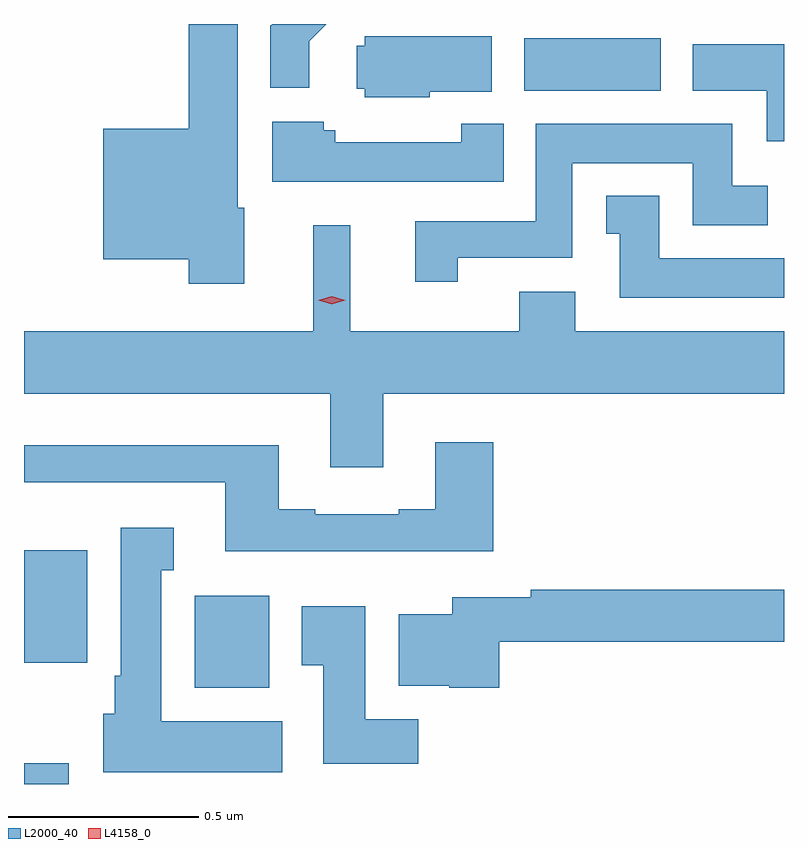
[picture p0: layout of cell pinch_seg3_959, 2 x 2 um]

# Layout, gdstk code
import gdstk
lib = gdstk.Library(unit=1e-6, precision=1e-09)
def R(c, l, rs):  # rectangles x0, y0, x1, y1
    for r in rs: c.add(gdstk.rectangle(r[:2], r[2:], *l))
def P(c, l, *ps):  # polygons
    for p in ps: c.add(gdstk.Polygon(p, *l))
L2000_40 = (2000, 40)
L4158_0 = (4158, 0)

pinch_seg3_959 = lib.new_cell('pinch_seg3_959')
R(pinch_seg3_959, L2000_40, [(554.745,734.521,554.863,734.575), (555.194,734.774,555.391,735.016), (554.745,734.84,554.911,735.136), (556.061,736.346,556.42,736.483)])
P(pinch_seg3_959, L2000_40, [(555.495,736.476),(555.54,736.521),(555.398,736.521),(555.393,736.516),(555.393,736.353),(555.495,736.353)],
  [(555.325,736.038),(555.307,736.038),(555.307,736.521),(555.179,736.521),(555.179,736.246),(554.954,736.246),(554.954,735.902),(555.179,735.902),(555.179,735.837),(555.325,735.837)],
  [(555.813,736.343),(555.976,736.343),(555.976,736.489),(555.642,736.489),(555.642,736.464),(555.621,736.464),(555.621,736.35),(555.642,736.35),(555.642,736.328),(555.813,736.328)],
  [(556.745,736.468),(556.505,736.468),(556.505,736.346),(556.7,736.346),(556.7,736.212),(556.745,736.212)],
  [(556.007,736.258),(555.896,736.258),(555.896,736.21),(555.564,736.21),(555.564,736.242),(555.534,736.242),(555.534,736.264),(555.398,736.264),(555.398,736.106),(556.007,736.106)],
  [(555.887,735.906),(556.188,735.906),(556.188,736.154),(556.505,736.154),(556.505,735.992),(556.702,735.992),(556.702,736.096),(556.609,736.096),(556.609,736.258),(556.092,736.258),(556.092,736.002),(555.774,736.002),(555.774,735.843),(555.887,735.843)],
  [(556.745,735.904),(556.417,735.904),(556.417,736.069),(556.277,736.069),(556.277,735.969),(556.313,735.969),(556.313,735.8),(556.745,735.8)],
  [(555.691,735.548),(556.745,735.548),(556.745,735.712),(556.195,735.712),(556.195,735.817),(556.048,735.817),(556.048,735.712),(555.604,735.712),(555.604,735.991),(555.506,735.991),(555.506,735.712),(554.745,735.712),(554.745,735.548),(555.551,735.548),(555.551,735.354),(555.691,735.354)],
  [(555.98,735.421),(555.827,735.421),(555.827,735.244),(555.731,735.244),(555.731,735.231),(555.511,735.231),(555.511,735.244),(555.415,735.244),(555.415,735.412),(554.745,735.412),(554.745,735.315),(555.275,735.315),(555.275,735.134),(555.98,735.134)],
  [(555.424,734.686),(555.106,734.686),(555.106,735.083),(555.139,735.083),(555.139,735.196),(554.999,735.196),(554.999,734.806),(554.984,734.806),(554.984,734.706),(554.954,734.706),(554.954,734.552),(555.424,734.552)],
  [(555.995,734.896),(556.745,734.896),(556.745,735.032),(556.078,735.032),(556.078,735.012),(555.872,735.012),(555.872,734.968),(555.731,734.968),(555.731,734.78),(555.864,734.78),(555.864,734.774),(555.995,734.774)],
  [(555.782,734.692),(555.643,734.692),(555.643,734.989),(555.476,734.989),(555.476,734.833),(555.533,734.833),(555.533,734.574),(555.782,734.574)])
P(pinch_seg3_959, L4158_0, [(555.555,735.784),(555.519,735.794),(555.519,735.794),(555.519,735.794),(555.555,735.804),(555.59,735.794),(555.59,735.794),(555.59,735.794)])

lib.write_gds('pinch_seg3_959.gds')
